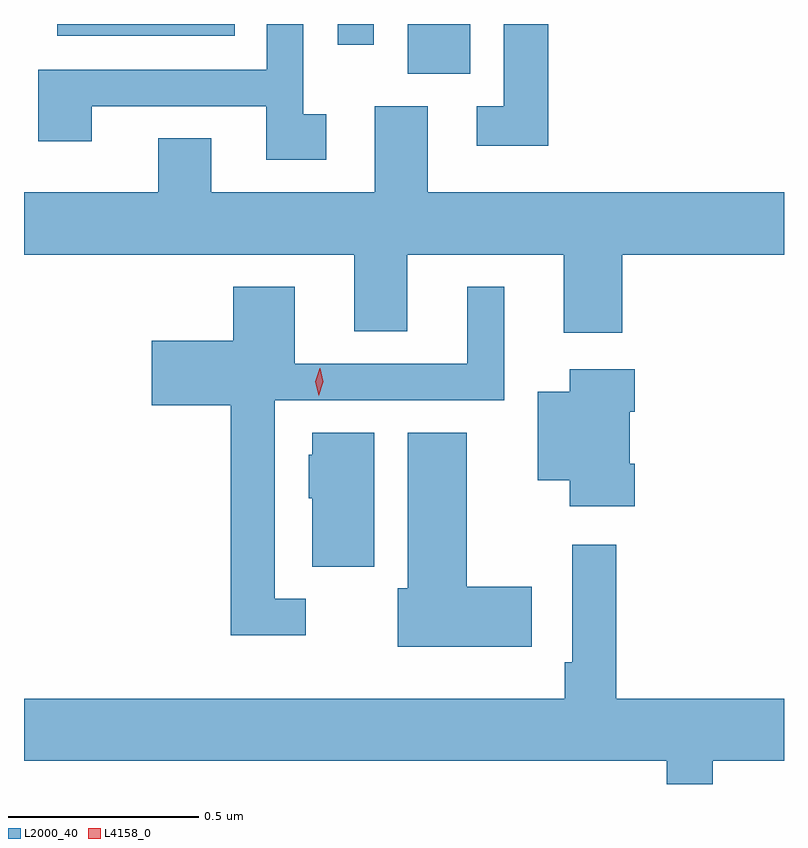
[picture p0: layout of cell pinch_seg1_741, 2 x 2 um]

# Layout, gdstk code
import gdstk
lib = gdstk.Library(unit=1e-6, precision=1e-09)
def R(c, l, rs):  # rectangles x0, y0, x1, y1
    for r in rs: c.add(gdstk.rectangle(r[:2], r[2:], *l))
def P(c, l, *ps):  # polygons
    for p in ps: c.add(gdstk.Polygon(p, *l))
L2000_40 = (2000, 40)
L4158_0 = (4158, 0)

pinch_seg1_741 = lib.new_cell('pinch_seg1_741')
R(pinch_seg1_741, L2000_40, [(745.004,518.908,745.168,519.039), (744.819,518.985,744.915,519.039), (744.081,519.008,744.548,519.039)])
P(pinch_seg1_741, L2000_40, [(745.373,519.039),(745.257,519.039),(745.257,518.823),(745.185,518.823),(745.185,518.718),(745.373,518.718)],
  [(744.79,518.802),(744.729,518.802),(744.729,519.039),(744.633,519.039),(744.633,518.919),(744.032,518.919),(744.032,518.73),(744.172,518.73),(744.172,518.823),(744.632,518.823),(744.632,518.682),(744.79,518.682)],
  [(745.568,518.432),(745.994,518.432),(745.994,518.596),(745.057,518.596),(745.057,518.823),(744.917,518.823),(744.917,518.596),(744.487,518.596),(744.487,518.738),(744.347,518.738),(744.347,518.596),(743.994,518.596),(743.994,518.432),(744.863,518.432),(744.863,518.23),(745.003,518.23),(745.003,518.432),(745.415,518.432),(745.415,518.226),(745.568,518.226)],
  [(744.736,517.527),(744.654,517.527),(744.654,518.049),(745.258,518.049),(745.258,518.347),(745.16,518.347),(745.16,518.145),(744.706,518.145),(744.706,518.347),(744.545,518.347),(744.545,518.206),(744.33,518.206),(744.33,518.036),(744.538,518.036),(744.538,517.43),(744.736,517.43)],
  [(745.601,517.882),(745.588,517.882),(745.588,518.018),(745.601,518.018),(745.601,518.131),(745.43,518.131),(745.43,518.071),(745.346,518.071),(745.346,517.838),(745.43,517.838),(745.43,517.77),(745.601,517.77)],
  [(744.916,517.964),(744.752,517.964),(744.752,517.905),(744.743,517.905),(744.743,517.791),(744.752,517.791),(744.752,517.611),(744.916,517.611)],
  [(745.33,517.558),(745.159,517.558),(745.159,517.964),(745.004,517.964),(745.004,517.554),(744.977,517.554),(744.977,517.4),(745.33,517.4)],
  [(745.553,517.669),(745.437,517.669),(745.437,517.36),(745.417,517.36),(745.417,517.264),(743.994,517.264),(743.994,517.1),(745.686,517.1),(745.686,517.039),(745.807,517.039),(745.807,517.1),(745.994,517.1),(745.994,517.264),(745.553,517.264)])
P(pinch_seg1_741, L4158_0, [(744.769,518.061),(744.769,518.061),(744.761,518.098),(744.772,518.133),(744.773,518.133),(744.773,518.133),(744.781,518.097),(744.769,518.061)])

lib.write_gds('pinch_seg1_741.gds')
